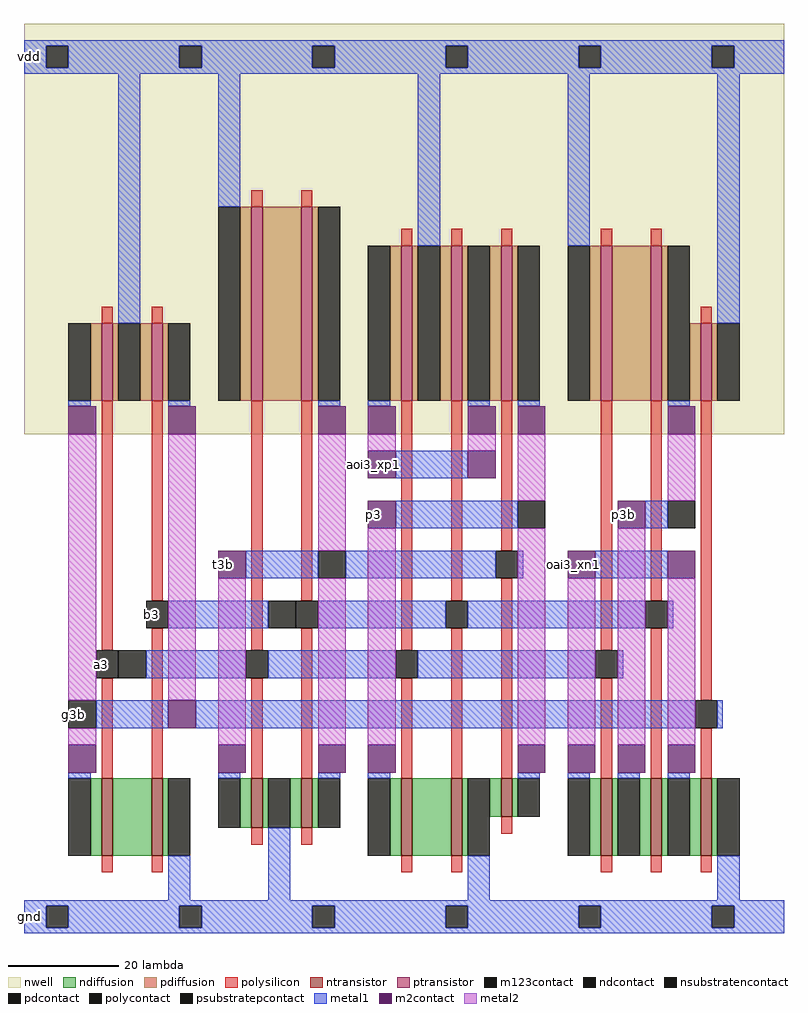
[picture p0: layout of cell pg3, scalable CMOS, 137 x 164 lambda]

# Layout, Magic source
magic
tech scmos
<< nwell >>
rect 0 90 137 164
<< ntransistor >>
rect 14 14 16 28
rect 23 14 25 28
rect 41 19 43 28
rect 50 19 52 28
rect 68 14 70 28
rect 77 14 79 28
rect 86 21 88 28
rect 104 14 106 28
rect 113 14 115 28
rect 122 14 124 28
<< ptransistor >>
rect 14 96 16 110
rect 23 96 25 110
rect 41 96 43 131
rect 50 96 52 131
rect 68 96 70 124
rect 77 96 79 124
rect 86 96 88 124
rect 104 96 106 124
rect 113 96 115 124
rect 122 96 124 110
<< ndiffusion >>
rect 12 14 14 28
rect 16 14 23 28
rect 25 14 26 28
rect 39 19 41 28
rect 43 19 44 28
rect 48 19 50 28
rect 52 19 53 28
rect 66 14 68 28
rect 70 14 77 28
rect 79 14 80 28
rect 84 21 86 28
rect 88 21 89 28
rect 102 14 104 28
rect 106 14 107 28
rect 111 14 113 28
rect 115 14 116 28
rect 120 14 122 28
rect 124 14 125 28
<< pdiffusion >>
rect 12 96 14 110
rect 16 96 17 110
rect 21 96 23 110
rect 25 96 26 110
rect 39 96 41 131
rect 43 96 50 131
rect 52 96 53 131
rect 66 96 68 124
rect 70 96 71 124
rect 75 96 77 124
rect 79 96 80 124
rect 84 96 86 124
rect 88 96 89 124
rect 102 96 104 124
rect 106 96 113 124
rect 115 96 116 124
rect 120 96 122 110
rect 124 96 125 110
<< ndcontact >>
rect 8 14 12 28
rect 26 14 30 28
rect 35 19 39 28
rect 44 19 48 28
rect 53 19 57 28
rect 62 14 66 28
rect 80 14 84 28
rect 89 21 93 28
rect 98 14 102 28
rect 107 14 111 28
rect 116 14 120 28
rect 125 14 129 28
<< pdcontact >>
rect 8 96 12 110
rect 17 96 21 110
rect 26 96 30 110
rect 35 96 39 131
rect 53 96 57 131
rect 62 96 66 124
rect 71 96 75 124
rect 80 96 84 124
rect 89 96 93 124
rect 98 96 102 124
rect 116 96 120 124
rect 125 96 129 110
<< psubstratepcontact >>
rect 4 1 8 5
rect 28 1 32 5
rect 52 1 56 5
rect 76 1 80 5
rect 100 1 104 5
rect 124 1 128 5
<< nsubstratencontact >>
rect 4 156 8 160
rect 28 156 32 160
rect 52 156 56 160
rect 76 156 80 160
rect 100 156 104 160
rect 124 156 128 160
<< polysilicon >>
rect 41 131 43 134
rect 50 131 52 134
rect 14 110 16 113
rect 23 110 25 113
rect 68 124 70 127
rect 77 124 79 127
rect 86 124 88 127
rect 104 124 106 127
rect 113 124 115 127
rect 122 110 124 113
rect 14 51 16 96
rect 23 60 25 96
rect 14 28 16 46
rect 23 28 25 55
rect 41 51 43 96
rect 50 60 52 96
rect 41 28 43 46
rect 50 28 52 55
rect 68 51 70 96
rect 77 60 79 96
rect 86 69 88 96
rect 68 28 70 46
rect 77 28 79 55
rect 86 28 88 64
rect 104 51 106 96
rect 113 60 115 96
rect 104 28 106 46
rect 113 28 115 55
rect 122 42 124 96
rect 122 28 124 37
rect 41 16 43 19
rect 50 16 52 19
rect 86 18 88 21
rect 14 11 16 14
rect 23 11 25 14
rect 68 11 70 14
rect 77 11 79 14
rect 104 11 106 14
rect 113 11 115 14
rect 122 11 124 14
<< polycontact >>
rect 22 55 26 60
rect 13 46 17 51
rect 49 55 53 60
rect 40 46 44 51
rect 85 64 89 69
rect 76 55 80 60
rect 67 46 71 51
rect 112 55 116 60
rect 103 46 107 51
rect 121 37 125 42
<< metal1 >>
rect 0 160 137 161
rect 0 156 4 160
rect 8 156 28 160
rect 32 156 52 160
rect 56 156 76 160
rect 80 156 100 160
rect 104 156 124 160
rect 128 156 137 160
rect 0 155 137 156
rect 17 110 21 155
rect 35 131 39 155
rect 71 124 75 155
rect 98 124 102 155
rect 8 95 12 96
rect 26 95 30 96
rect 53 95 57 96
rect 62 95 66 96
rect 80 95 84 96
rect 125 110 129 155
rect 89 95 93 96
rect 116 95 120 96
rect 67 82 80 87
rect 67 73 89 78
rect 112 73 116 78
rect 40 64 53 69
rect 58 64 85 69
rect 89 64 90 69
rect 103 64 116 69
rect 26 55 44 60
rect 53 55 76 60
rect 80 55 112 60
rect 116 55 117 60
rect 22 46 40 51
rect 44 46 67 51
rect 71 46 103 51
rect 107 46 108 51
rect 13 37 26 42
rect 31 37 121 42
rect 125 37 126 42
rect 8 28 12 29
rect 35 28 39 29
rect 53 28 57 29
rect 62 28 66 29
rect 89 28 93 29
rect 26 6 30 14
rect 44 6 48 19
rect 98 28 102 29
rect 107 28 111 29
rect 116 28 120 29
rect 80 6 84 14
rect 125 6 129 14
rect 0 5 137 6
rect 0 1 4 5
rect 8 1 28 5
rect 32 1 52 5
rect 56 1 76 5
rect 80 1 100 5
rect 104 1 124 5
rect 128 1 137 5
rect 0 0 137 1
<< m2contact >>
rect 8 90 13 95
rect 26 90 31 95
rect 53 90 58 95
rect 62 90 67 95
rect 80 90 85 95
rect 89 90 94 95
rect 116 90 121 95
rect 62 82 67 87
rect 80 82 85 87
rect 62 73 67 78
rect 107 73 112 78
rect 35 64 40 69
rect 98 64 103 69
rect 116 64 121 69
rect 26 37 31 42
rect 8 29 13 34
rect 35 29 40 34
rect 53 29 58 34
rect 62 29 67 34
rect 89 29 94 34
rect 98 29 103 34
rect 107 29 112 34
rect 116 29 121 34
<< metal2 >>
rect 8 42 13 90
rect 26 42 31 90
rect 53 69 58 90
rect 62 87 67 90
rect 80 87 85 90
rect 89 78 94 90
rect 116 78 121 90
rect 8 34 13 37
rect 35 34 40 64
rect 53 34 58 64
rect 62 34 67 73
rect 89 34 94 73
rect 98 34 103 64
rect 107 34 112 73
rect 116 34 121 64
<< m123contact >>
rect 17 46 22 51
rect 8 37 13 42
rect 53 64 58 69
rect 44 55 49 60
rect 89 73 94 78
rect 116 73 121 78
<< labels >>
rlabel metal1 13 46 15 51 0 a3
port 1 nsew
rlabel metal1 22 55 24 60 0 b3
port 2 nsew
rlabel metal1 8 37 10 42 0 g3b
port 3 nsew
rlabel m2contact 62 73 64 78 0 p3
port 4 nsew
rlabel m2contact 107 73 109 78 0 p3b
port 5 nsew
rlabel m2contact 35 64 37 69 0 t3b
port 6 nsew
rlabel m2contact 62 82 64 87 0 aoi3_xp1
rlabel m2contact 98 64 100 69 0 oai3_xn1
rlabel metal1 0 155 2 161 0 vdd
port 7 nsew
rlabel metal1 0 0 2 6 0 gnd
port 8 nsew
<< end >>
